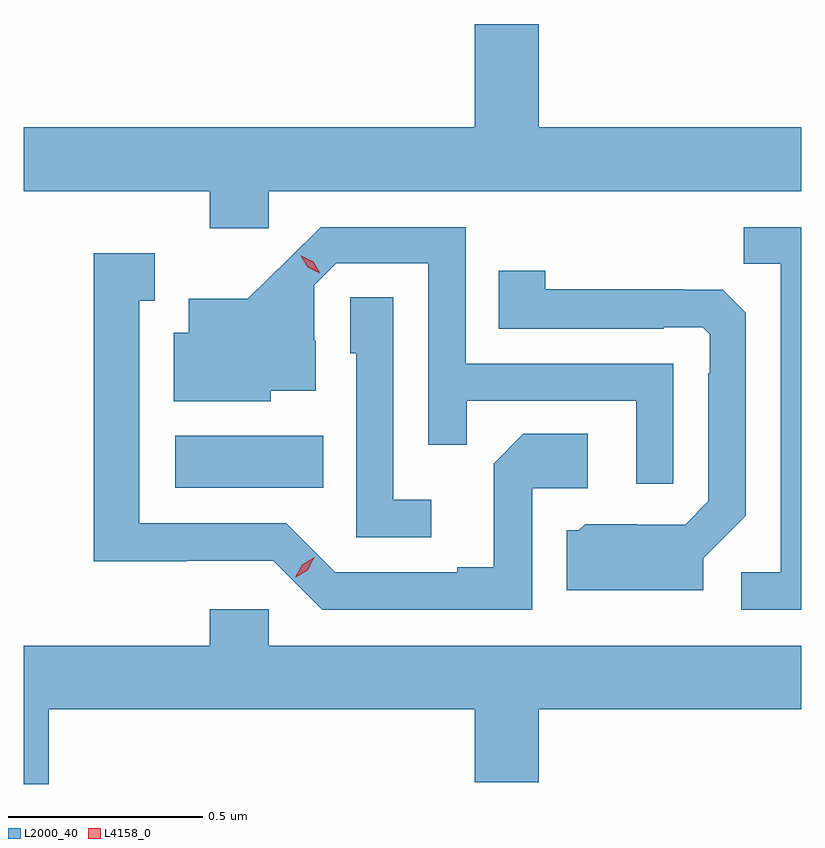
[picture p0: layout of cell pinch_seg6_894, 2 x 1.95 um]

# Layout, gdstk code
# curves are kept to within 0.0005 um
import gdstk
lib = gdstk.Library(unit=1e-6, precision=1e-09)
def R(c, l, rs):  # rectangles x0, y0, x1, y1
    for r in rs: c.add(gdstk.rectangle(r[:2], r[2:], *l))
def P(c, l, *ps):  # polygons
    for p in ps: c.add(gdstk.Polygon(p, *l))
L2000_40 = (2000, 40)
L4158_0 = (4158, 0)

pinch_seg6_894 = lib.new_cell('pinch_seg6_894')
R(pinch_seg6_894, L2000_40, [(140.262,982.538,140.642,982.672)])
P(pinch_seg6_894, L2000_40, [(140.502,983.3),(141.872,983.3),(141.872,983.464),(141.196,983.464),(141.196,983.73),(141.032,983.73),(141.032,983.464),(139.872,983.464),(139.872,983.3),(140.351,983.3),(140.351,983.205),(140.502,983.205)],
  [(141.872,983.208),(141.724,983.208),(141.724,983.113),(141.819,983.113),(141.819,982.32),(141.717,982.32),(141.717,982.224),(141.872,982.224)],
  [(141.543,982.857),(141.009,982.857),(141.009,983.208),(140.636,983.208),(140.449,983.023),(140.297,983.023),(140.297,982.936),(140.258,982.936),(140.258,982.76),(140.508,982.76),(140.508,982.787),(140.623,982.787),(140.623,982.916),(140.619,982.916),(140.619,983.058),(140.676,983.115),(140.913,983.115),(140.913,982.648),(141.011,982.648),(141.011,982.761),(141.447,982.761),(141.447,982.548),(141.543,982.548)],
  [(141.18,982.536),(141.322,982.536),(141.322,982.676),(141.157,982.676),(141.081,982.6),(141.081,982.333),(140.987,982.333),(140.987,982.32),(140.673,982.32),(140.547,982.446),(140.17,982.446),(140.17,983.019),(140.209,983.019),(140.209,983.14),(140.052,983.14),(140.052,982.349),(140.292,982.349),(140.292,982.35),(140.514,982.35),(140.64,982.224),(141.18,982.224)],
  [(141.619,982.356),(141.729,982.466),(141.729,982.988),(141.67,983.047),(141.569,983.047),(141.569,983.048),(141.213,983.048),(141.213,983.095),(141.094,983.095),(141.094,982.947),(141.518,982.947),(141.518,982.95),(141.618,982.95),(141.636,982.932),(141.636,982.832),(141.633,982.832),(141.633,982.503),(141.573,982.443),(141.45,982.443),(141.45,982.444),(141.316,982.444),(141.3,982.428),(141.269,982.428),(141.269,982.274),(141.619,982.274)],
  [(140.92,982.507),(140.823,982.507),(140.823,983.027),(140.712,983.027),(140.712,982.884),(140.727,982.884),(140.727,982.41),(140.92,982.41)],
  [(139.937,981.968),(141.032,981.968),(141.032,981.78),(141.196,981.78),(141.196,981.968),(141.872,981.968),(141.872,982.132),(140.502,982.132),(140.502,982.225),(140.351,982.225),(140.351,982.132),(139.872,982.132),(139.872,981.776),(139.937,981.776)])
P(pinch_seg6_894, L4158_0, [(140.634,983.089),(140.603,983.104),(140.585,983.134),(140.585,983.134),(140.586,983.134),(140.617,983.119),(140.634,983.09),(140.634,983.089)],
  [(140.571,982.307),(140.571,982.308),(140.588,982.34),(140.62,982.359),(140.62,982.359),(140.62,982.359),(140.603,982.326),(140.572,982.307)])

lib.write_gds('pinch_seg6_894.gds')
